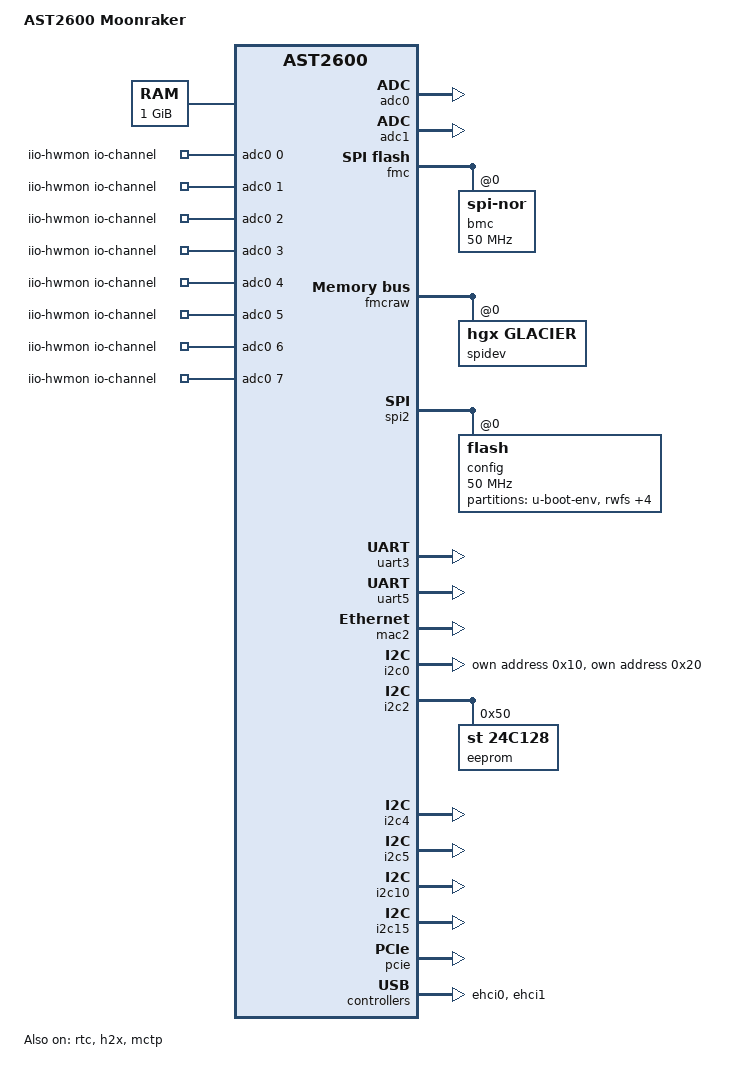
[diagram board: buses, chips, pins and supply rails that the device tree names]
// SPDX-License-Identifier: GPL-2.0+
/dts-v1/;

#include "aspeed-g6.dtsi"
#include <dt-bindings/gpio/aspeed-gpio.h>
#include <dt-bindings/leds/common.h>
#include <dt-bindings/i2c/i2c.h>
#include "aspeed-g6-pinctrl.dtsi"

/ {
	model = "AST2600 Moonraker";
	compatible = "aspeed,ast2600";

	aliases {
		serial4 = &uart5;
	};

	chosen {
		stdout-path = &uart5;
		bootargs = "console=tty0 console=ttyS4,115200 earlyprintk";
	};

	memory@80000000 {
		reg = <0x80000000 0x40000000>;
	};

	power-gpios{
				n2-gpios = <&gpio0 ASPEED_GPIO(N, 2) (GPIO_ACTIVE_HIGH|GPIO_PULL_UP)>;
				n3-gpios = <&gpio0 ASPEED_GPIO(N, 3) (GPIO_ACTIVE_HIGH|GPIO_PULL_UP)>;
	};

	iio-hwmon {
		compatible = "iio-hwmon";
		io-channels = <&adc0 0>, <&adc0 1>, <&adc0 2>, <&adc0 3>,
						<&adc0 4>, <&adc0 5>, <&adc0 6>, <&adc0 7>,
						<&adc1 0>, <&adc1 1>, <&adc1 2>, <&adc1 3>,
						<&adc1 4>, <&adc1 5>, <&adc1 6>, <&adc1 7>;
	};

};

&adc0 {
	status = "okay";
	pinctrl-names = "default";
	pinctrl-0 = <&pinctrl_adc0_default
				&pinctrl_adc1_default
				&pinctrl_adc2_default
				&pinctrl_adc3_default
				&pinctrl_adc4_default
				&pinctrl_adc5_default
				&pinctrl_adc6_default
				&pinctrl_adc7_default>;
};

&adc1 {
	status = "okay";
	pinctrl-names = "default";
	pinctrl-0 = <&pinctrl_adc8_default
				&pinctrl_adc9_default
				&pinctrl_adc10_default
				&pinctrl_adc11_default
				&pinctrl_adc12_default
				&pinctrl_adc13_default
				&pinctrl_adc14_default
				&pinctrl_adc15_default>;
};

&gpio0 {
		gpio-line-names =
		/*A0-A7*/		"","","","","","","","",
		/*B0-B7*/		"","","","","","","","",
		/*C0-C7*/		"","","","","","","","",
		/*D0-D7*/		"","","","","","","","",
		/*E0-E7*/		"","","","","","","","",
		/*F0-F7*/		"","","","","","","","",
		/*G0-G7*/		"","","","","","","","",
		/*H0-H7*/		"","","","","","","","",
		/*I0-I7*/		"","","","","","","","",
		/*J0-J7*/		"","","","","","","","",
		/*K0-K7*/		"","","","","","","","",
		/*L0-L7*/		"","","","","","","","",
		/*M0-M7*/		"","","","","","","","",
		/*N0-N7*/		"","","","","","","","",
		/*O0-O7*/		"","bf3_livefish","bf3_nsrst_arm","bf3_arm_soft_reset","bf3_soc_hard_rst","power_enable","","tor_eswitch_reset",
		/*P0-P7*/		"","","","","","","","",
		/*Q0-Q7*/		"","","","","","","","",
		/*R0-R7*/		"bf3_pre_reset","","perst","all_stdby","","","","",
		/*S0-S7*/		"","","","","","","","",
		/*T0-T7*/		"","","","","","","","",
		/*U0-U7*/		"","","","","","","","",
		/*V0-V7*/		"","","","","","","","",
		/*W0-W7*/		"","","","","","","","",
		/*X0-X7*/		"","","","","","","","",
		/*Y0-Y7*/		"","","","","","","","",
		/*Z0-Z7*/		"","","","","","","","";
};

&gpio1 {
		gpio-line-names =
		/*AA0-AA7*/		"","","","","","","","",
		/*AB0-AB7*/		"","","","","","","","",
		/*AC0-AC7*/		"","","","","","","","",
		/*AD0-AD7*/		"","","","","","","","",
		/*AE0-AE7*/		"","","","","","","","";
};

&fmc {
	status = "okay";
	flash@0 {
		status = "okay";
		compatible = "jedec,spi-nor";
		label = "bmc";
		spi-max-frequency = <50000000>;
#include "aspeed-bmc-nvidia-vulcan-flash-layout-64.dtsi"
	};
};

&fmcraw {
	status = "okay";
	spidev@0 {
		compatible = "hgx,glacier";
		status = "okay";
	};
};

&spi2 {
	status = "okay";
	pinctrl-names = "default";
	pinctrl-0 = <&pinctrl_spi2_default>;

	flash@0 {
		status = "okay";
		label = "config";
		spi-max-frequency = <50000000>;
		partitions {
			compatible = "fixed-partitions";
			#address-cells = <1>;
			#size-cells = <1>;

			u-boot-env@0 {
				reg = <0x0 0x40000>;	// 0.25 MB
				label = "u-boot-env";
			};

			rwfs@40000 {
				reg = <0x40000 0x1000000>;	// 16 MB
				label = "rwfs";
			};

			rwfs_failover@1040000 {
				reg = <0x1040000 0x400000>;	// 4 MB
				label = "rwfs_failover";
			};

			images_primary@1440000 {
				reg = <0x1440000 0x2400000>;	// 36 MB
				label = "images_primary";
			};

			images_secondary@3840000 {
				reg = <0x3840000 0x2400000>; // 36 MB

				label = "images_secondary";
			};

			log@5C40000 {
				reg = <0x5C40000 0x23C0000>;	// 35.75
				label = "log";
			};
		};
	};
};


&rtc {
	status = "okay";
};


// uart to BFE
&uart3 {
	status = "okay";
	pinctrl-names = "default";
	pinctrl-0 = <&pinctrl_txd3_default &pinctrl_rxd3_default>;

};

&uart5 {
	// BMC Debug Console
	status = "okay";
};

// MAC2 of SoC connected to external PHY
&mac2 {
	status = "okay";

	pinctrl-names = "default";
	pinctrl-0 = <&pinctrl_rgmii3_default>;
};

// Arm IPMB
&i2c0 {
	status = "okay";
	multi-master;
	// BF to BMC
	ipmb-0@10 {
		compatible = "ipmb-dev";
		reg = <(0x10 | I2C_OWN_SLAVE_ADDRESS)>;
		i2c-protocol;
	};
	// BMC to BF
	ipmb-0@20 {
		compatible = "ipmb-dev";
		reg = <(0x20 | I2C_OWN_SLAVE_ADDRESS)>;
		i2c-protocol;
	};
};

// fru eeprom
&i2c2 {
	status = "okay";
	eeprom@50 {
		compatible = "st,24c128", "atmel,24c128";
		reg = <0x50>;
		pagesize = <64>;
	};
};

//aux eth sw
&i2c4 {
	status = "okay";
};

//NIC
&i2c5 {
	status = "okay";
};

//eth switch
&i2c10 {
	status = "okay";
};

//Glacier i2c
&i2c15 {
	status = "okay";
};

// PCIe RC
&pcie {
	status = "okay";

	interrupts = <GIC_SPI 168 IRQ_TYPE_LEVEL_HIGH>;

	pcie_intc0: legacy-interrupt-controller {
		interrupts = <GIC_SPI 168 IRQ_TYPE_EDGE_RISING>;
	};
};

// Bridge between AHB bus and PCIe RC.
&h2x {
	status = "okay";
};

&mctp {
	status = "okay";
};


//USB 2.0 (BMC to BF3)
&ehci0 {
	status = "okay";
};

// USB 1.0
&ehci1 {
	status = "okay";
};
